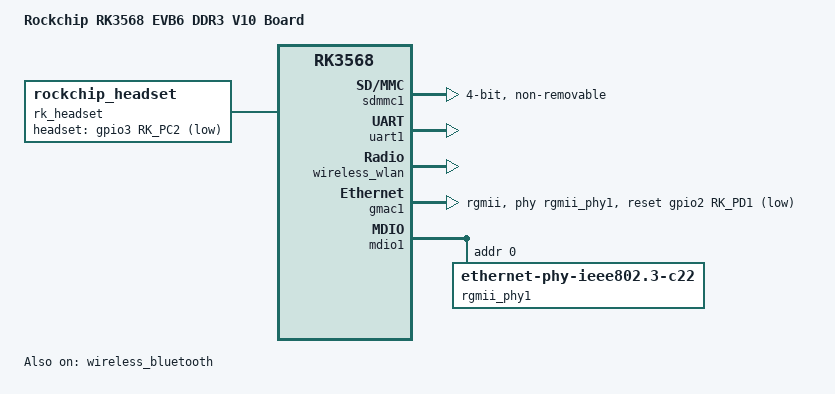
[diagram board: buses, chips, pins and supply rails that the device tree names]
// SPDX-License-Identifier: (GPL-2.0+ OR MIT)
/*
 * Copyright (c) 2020 Rockchip Electronics Co., Ltd.
 *
 */

/dts-v1/;

#include "rk3568-evb.dtsi"
#include "rk3568-android.dtsi"

/ {
	model = "Rockchip RK3568 EVB6 DDR3 V10 Board";
	compatible = "rockchip,rk3568-evb6-ddr3-v10", "rockchip,rk3568";

	rk_headset: rk-headset {
		compatible = "rockchip_headset";
		headset_gpio = <&gpio3 RK_PC2 GPIO_ACTIVE_LOW>;
		pinctrl-names = "default";
		pinctrl-0 = <&hp_det>;
	};
};

&dsi_panel {
	enable-gpios = <&gpio0 RK_PC7 GPIO_ACTIVE_HIGH>;
	pinctrl-names = "default";
	pinctrl-0 = <&lcd_enable_gpio>;
};

&pinctrl {
	headphone {
		hp_det: hp-det {
			rockchip,pins = <3 RK_PC2 RK_FUNC_GPIO &pcfg_pull_down>;
		};
	};

	sdio-pwrseq {
		wifi_enable_h: wifi-enable-h {
			rockchip,pins = <2 RK_PB1 RK_FUNC_GPIO &pcfg_pull_none>;
		};
	};

	wireless-bluetooth {
		uart1_gpios: uart1-gpios {
			rockchip,pins = <2 RK_PB5 RK_FUNC_GPIO &pcfg_pull_none>;
		};
	};

	lcd {
		lcd_enable_gpio: lcd_enable_gpio {
			rockchip,pins = <0 RK_PC7 RK_FUNC_GPIO &pcfg_pull_none>;
		};
	};
};

&sdmmc1 {
	max-frequency = <150000000>;
	supports-sdio;
	bus-width = <4>;
	disable-wp;
	cap-sd-highspeed;
	cap-sdio-irq;
	keep-power-in-suspend;
	mmc-pwrseq = <&sdio_pwrseq>;
	non-removable;
	pinctrl-names = "default";
	pinctrl-0 = <&sdmmc1_bus4 &sdmmc1_cmd &sdmmc1_clk>;
	sd-uhs-sdr104;
	status = "okay";
};

&sdmmc2 {
	status = "disabled";
};

&sdio_pwrseq {
	compatible = "mmc-pwrseq-simple";
	clocks = <&pmucru CLK_RTC_32K>;
	clock-names = "ext_clock";
	pinctrl-names = "default";
	pinctrl-0 = <&wifi_enable_h>;

	/*
	 * On the module itself this is one of these (depending
	 * on the actual card populated):
	 * - SDIO_RESET_L_WL_REG_ON
	 * - PDN (power down when low)
	 */
	reset-gpios = <&gpio2 RK_PB1 GPIO_ACTIVE_LOW>;
};

&uart1 {
	status = "okay";
};

&wireless_wlan {
	compatible = "wlan-platdata";
	rockchip,grf = <&grf>;
	wifi_chip_type = "ap6398s";
	WIFI,host_wake_irq = <&gpio2 RK_PB2 GPIO_ACTIVE_HIGH>;
	status = "okay";
};

&wireless_bluetooth {
	compatible = "bluetooth-platdata";
	clocks = <&pmucru CLK_RTC_32K>;
	clock-names = "ext_clock";
	//wifi-bt-power-toggle;
	uart_rts_gpios = <&gpio2 RK_PB5 GPIO_ACTIVE_LOW>;
	pinctrl-names = "default", "rts_gpio";
	pinctrl-0 = <&uart1ctsnm0>;
	pinctrl-1 = <&uart1_gpios>;
	BT,reset_gpio    = <&gpio2 RK_PB7 GPIO_ACTIVE_HIGH>;
	BT,wake_gpio     = <&gpio2 RK_PC1 GPIO_ACTIVE_HIGH>;
	BT,wake_host_irq = <&gpio2 RK_PC0 GPIO_ACTIVE_HIGH>;
	status = "okay";
};

&gmac1 {
	phy-mode = "rgmii";
	clock_in_out = "output";

	snps,reset-gpio = <&gpio2 RK_PD1 GPIO_ACTIVE_LOW>;
	snps,reset-active-low;
	/* Reset time is 20ms, 100ms for rtl8211f */
	snps,reset-delays-us = <0 20000 100000>;

	assigned-clocks = <&cru SCLK_GMAC1_RX_TX>, <&cru SCLK_GMAC1>;
	assigned-clock-parents = <&cru SCLK_GMAC1_RGMII_SPEED>;
	assigned-clock-rates = <0>, <125000000>;

	pinctrl-names = "default";
	pinctrl-0 = <&gmac1m0_miim_pins &gmac1m0_rgmii_pins>;

	tx_delay = <0x2a>;
	rx_delay = <0x1a>;

	phy-handle = <&rgmii_phy1>;
	status = "okay";
};

&mdio1 {
	rgmii_phy1: phy@0 {
		compatible = "ethernet-phy-ieee802.3-c22";
		reg = <0x0>;
	};
};
